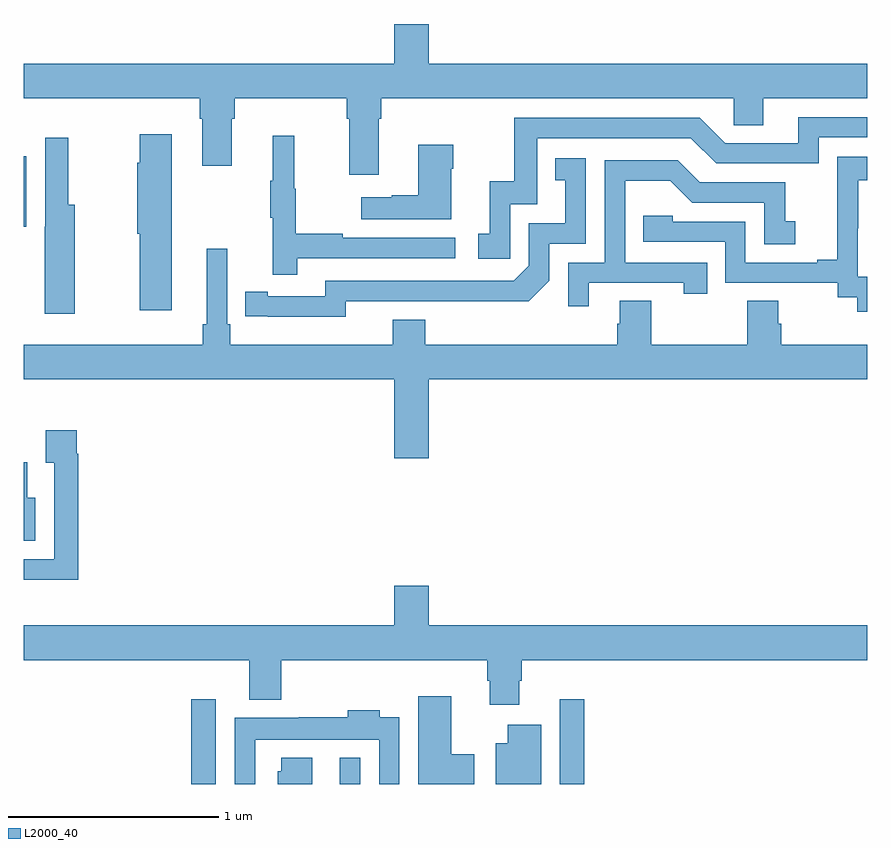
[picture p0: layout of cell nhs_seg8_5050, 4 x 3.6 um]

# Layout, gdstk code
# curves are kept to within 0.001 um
import gdstk
lib = gdstk.Library(unit=1e-6, precision=1e-09)
def R(c, l, rs):  # rectangles x0, y0, x1, y1
    for r in rs: c.add(gdstk.rectangle(r[:2], r[2:], *l))
def P(c, l, *ps):  # polygons
    for p in ps: c.add(gdstk.Polygon(p, *l))
L2000_40 = (2000, 40)

nhs_seg8_5050 = lib.new_cell('nhs_seg8_5050')
R(nhs_seg8_5050, L2000_40, [(415.795,1127.9,415.911,1128.301), (416.498,1127.9,416.595,1128.025), (417.543,1127.9,417.659,1128.301), (415,1130.544,415.011,1130.878)])
P(nhs_seg8_5050, L2000_40, [(416.683,1131.056),(416.696,1131.056),(416.696,1131.152),(418.368,1131.152),(418.368,1131.025),(418.507,1131.025),(418.507,1131.152),(419,1131.152),(419,1131.316),(416.92,1131.316),(416.92,1131.505),(416.756,1131.505),(416.756,1131.316),(415,1131.316),(415,1131.152),(415.835,1131.152),(415.835,1131.056),(415.847,1131.056),(415.847,1130.832),(415.987,1130.832),(415.987,1131.056),(416,1131.056),(416,1131.152),(416.531,1131.152),(416.531,1131.056),(416.543,1131.056),(416.543,1130.79),(416.683,1130.79)],
  [(417.306,1130.649),(417.435,1130.649),(417.435,1130.964),(418.164,1130.964),(418.284,1130.844),(418.77,1130.844),(418.77,1130.967),(419,1130.967),(419,1131.063),(418.673,1131.063),(418.673,1130.94),(418.326,1130.94),(418.206,1131.06),(417.327,1131.06),(417.327,1130.758),(417.209,1130.758),(417.209,1130.511),(417.156,1130.511),(417.156,1130.391),(417.306,1130.391)],
  [(415.702,1130.983),(415.549,1130.983),(415.549,1130.847),(415.538,1130.847),(415.538,1130.511),(415.549,1130.511),(415.549,1130.148),(415.702,1130.148)],
  [(416.297,1130.394),(417.046,1130.394),(417.046,1130.49),(416.513,1130.49),(416.513,1130.51),(416.29,1130.51),(416.29,1130.724),(416.282,1130.724),(416.282,1130.974),(416.18,1130.974),(416.18,1130.761),(416.169,1130.761),(416.169,1130.587),(416.18,1130.587),(416.18,1130.316),(416.297,1130.316)],
  [(415.242,1130.647),(415.21,1130.647),(415.21,1130.965),(415.101,1130.965),(415.101,1130.543),(415.1,1130.543),(415.1,1130.13),(415.242,1130.13)],
  [(417.028,1130.819),(417.036,1130.819),(417.036,1130.932),(416.87,1130.932),(416.87,1130.693),(416.744,1130.693),(416.744,1130.683),(416.601,1130.683),(416.601,1130.579),(417.028,1130.579)],
  [(419,1130.307),(418.956,1130.307),(418.956,1130.537),(418.958,1130.537),(418.958,1130.765),(419,1130.765),(419,1130.875),(418.858,1130.875),(418.858,1130.669),(418.859,1130.669),(418.859,1130.386),(418.763,1130.386),(418.763,1130.373),(418.422,1130.373),(418.422,1130.568),(418.077,1130.568),(418.077,1130.595),(417.937,1130.595),(417.937,1130.472),(418.326,1130.472),(418.326,1130.277),(418.86,1130.277),(418.86,1130.209),(418.953,1130.209),(418.953,1130.139),(419,1130.139)],
  [(416.526,1130.19),(417.394,1130.189),(417.492,1130.286),(417.492,1130.463),(417.666,1130.463),(417.666,1130.869),(417.52,1130.869),(417.52,1130.763),(417.569,1130.763),(417.569,1130.559),(417.396,1130.559),(417.396,1130.358),(417.324,1130.286),(416.43,1130.286),(416.43,1130.214),(416.158,1130.214),(416.158,1130.234),(416.05,1130.234),(416.05,1130.118),(416.526,1130.117)],
  [(417.679,1130.277),(418.13,1130.277),(418.13,1130.226),(418.241,1130.226),(418.241,1130.373),(417.852,1130.373),(417.852,1130.762),(418.066,1130.762),(418.17,1130.658),(418.512,1130.658),(418.512,1130.46),(418.66,1130.46),(418.66,1130.569),(418.611,1130.569),(418.611,1130.754),(418.207,1130.754),(418.102,1130.859),(417.756,1130.859),(417.756,1130.373),(417.582,1130.373),(417.582,1130.166),(417.679,1130.166)],
  [(416.92,1129.82),(419,1129.82),(419,1129.984),(418.592,1129.984),(418.592,1130.082),(418.579,1130.082),(418.579,1130.192),(418.432,1130.192),(418.432,1129.984),(417.975,1129.984),(417.975,1130.192),(417.827,1130.192),(417.827,1130.082),(417.815,1130.082),(417.815,1129.984),(416.903,1129.984),(416.903,1130.101),(416.75,1130.101),(416.75,1129.984),(415.979,1129.984),(415.979,1130.08),(415.965,1130.08),(415.965,1130.44),(415.868,1130.44),(415.868,1130.08),(415.849,1130.08),(415.849,1129.984),(415,1129.984),(415,1129.82),(416.756,1129.82),(416.756,1129.446),(416.92,1129.446)],
  [(415.259,1129.466),(415.252,1129.466),(415.252,1129.579),(415.103,1129.579),(415.103,1129.423),(415.143,1129.423),(415.143,1128.966),(415,1128.966),(415,1128.869),(415.259,1128.869)],
  [(415.054,1129.258),(415.015,1129.258),(415.015,1129.426),(415,1129.426),(415,1129.055),(415.054,1129.055)],
  [(417.349,1128.39),(417.362,1128.39),(417.362,1128.488),(419,1128.488),(419,1128.652),(416.92,1128.652),(416.92,1128.841),(416.756,1128.841),(416.756,1128.652),(415,1128.652),(415,1128.488),(416.069,1128.488),(416.069,1128.299),(416.222,1128.299),(416.222,1128.488),(417.197,1128.488),(417.197,1128.39),(417.209,1128.39),(417.209,1128.276),(417.349,1128.276)],
  [(417.136,1128.042),(417.028,1128.042),(417.028,1128.316),(416.87,1128.316),(416.87,1127.9),(417.136,1127.9)],
  [(416.097,1128.11),(416.685,1128.11),(416.685,1127.9),(416.781,1127.9),(416.781,1128.217),(416.689,1128.217),(416.689,1128.25),(416.537,1128.25),(416.537,1128.217),(416.305,1128.217),(416.305,1128.214),(416.001,1128.214),(416.001,1127.9),(416.097,1127.9)],
  [(417.454,1128.181),(417.296,1128.181),(417.296,1128.094),(417.239,1128.094),(417.239,1127.9),(417.454,1127.9)],
  [(416.368,1128.025),(416.222,1128.025),(416.222,1127.961),(416.204,1127.961),(416.204,1127.9),(416.368,1127.9)])

lib.write_gds('nhs_seg8_5050.gds')
